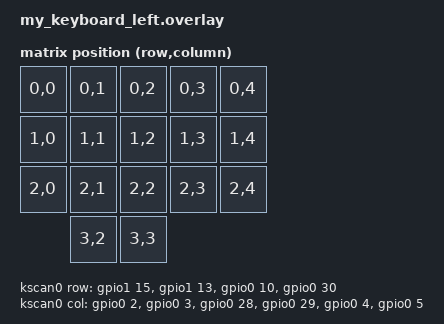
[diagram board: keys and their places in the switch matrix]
// my_keyboard_left.overlay

#include <zephyr/dt-bindings/zmk/matrix_transform.h>

/ {
    chosen {
        zmk,kscan = &kscan0;
        zmk,matrix_transform = &default_transform;
        zmk,split = &split;
    };

    kscan0: kscan {
        compatible = "zmk,kscan-gpio-matrix";
        diode-direction = "col2row";
        col-gpios = <&gpio0 2>, <&gpio0 3>, <&gpio0 28>, <&gpio0 29>, <&gpio0 4>, <&gpio0 5>;
        row-gpios = <&gpio1 15>, <&gpio1 13>, <&gpio0 10>, <&gpio0 30>;
    };

    default_transform: keymap_transform_0 {
        compatible = "zmk,matrix-transform";
        columns = <6>;
        rows = <4>;
        map = <
            RC(0,0) RC(0,1) RC(0,2) RC(0,3) RC(0,4)
            RC(1,0) RC(1,1) RC(1,2) RC(1,3) RC(1,4)
            RC(2,0) RC(2,1) RC(2,2) RC(2,3) RC(2,4)
                        RC(3,2) RC(3,3)
        >;
    };

    split: split {
        compatible = "zmk,split-i2c";
        role = "central"; // 左手側をセントラルに設定
    };

    &i2c0 {
        status = "okay";
        sda-pin = <&gpio0 6>; // D4
        scl-pin = <&gpio0 7>; // D5
    };
};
